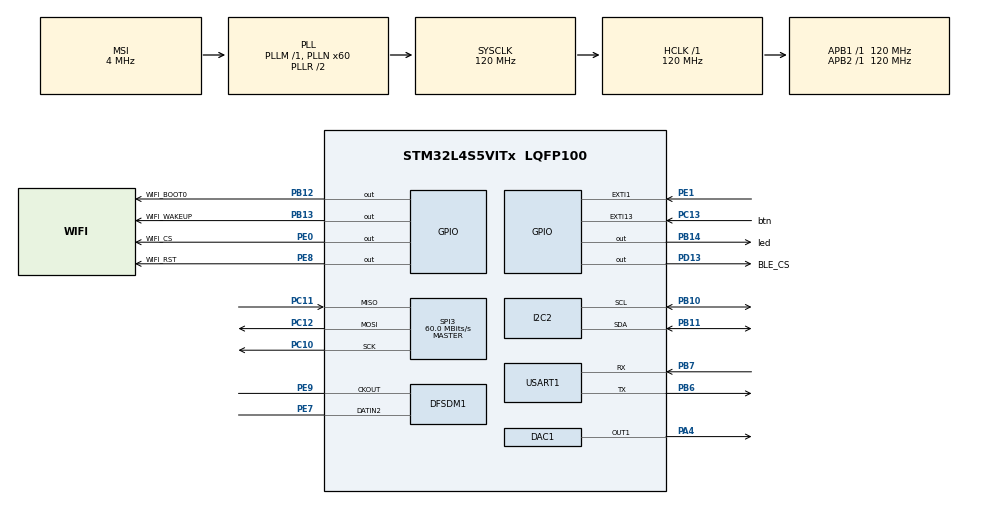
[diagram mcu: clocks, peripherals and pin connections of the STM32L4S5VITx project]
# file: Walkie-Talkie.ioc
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DAC1.DAC_Trigger-DAC_OUT1=DAC_TRIGGER_T2_TRGO
DFSDM1.Divider=60
DFSDM1.DmaMode_reg_FIL0=ENABLE
DFSDM1.FastMode_reg_FIL0=ENABLE
DFSDM1.Filter_regChannel_FIL0=DFSDM_CHANNEL_2
DFSDM1.Fosr_FIL0=250
Dma.DAC1_CH1.1.Direction=DMA_MEMORY_TO_PERIPH
Dma.DAC1_CH1.1.EventEnable=DISABLE
Dma.DAC1_CH1.1.Instance=DMA1_Channel2
Dma.DAC1_CH1.1.MemDataAlignment=DMA_MDATAALIGN_HALFWORD
Dma.DAC1_CH1.1.MemInc=DMA_MINC_ENABLE
Dma.DAC1_CH1.1.Mode=DMA_CIRCULAR
Dma.DAC1_CH1.1.PeriphDataAlignment=DMA_PDATAALIGN_HALFWORD
Dma.DAC1_CH1.1.PeriphInc=DMA_PINC_DISABLE
Dma.DAC1_CH1.1.Polarity=HAL_DMAMUX_REQUEST_GEN_RISING
Dma.DAC1_CH1.1.Priority=DMA_PRIORITY_LOW
Dma.DAC1_CH1.1.RequestNumber=1
Dma.DAC1_CH1.1.SignalID=NONE
Dma.DAC1_CH1.1.SyncEnable=DISABLE
Dma.DAC1_CH1.1.SyncPolarity=HAL_DMAMUX_SYNC_NO_EVENT
Dma.DAC1_CH1.1.SyncRequestNumber=1
Dma.DAC1_CH1.1.SyncSignalID=NONE
Dma.DFSDM1_FLT0.0.Direction=DMA_PERIPH_TO_MEMORY
Dma.DFSDM1_FLT0.0.EventEnable=DISABLE
Dma.DFSDM1_FLT0.0.Instance=DMA1_Channel1
Dma.DFSDM1_FLT0.0.MemDataAlignment=DMA_MDATAALIGN_WORD
Dma.DFSDM1_FLT0.0.MemInc=DMA_MINC_ENABLE
Dma.DFSDM1_FLT0.0.Mode=DMA_CIRCULAR
Dma.DFSDM1_FLT0.0.PeriphDataAlignment=DMA_PDATAALIGN_WORD
Dma.DFSDM1_FLT0.0.PeriphInc=DMA_PINC_DISABLE
Dma.DFSDM1_FLT0.0.Polarity=HAL_DMAMUX_REQUEST_GEN_RISING
Dma.DFSDM1_FLT0.0.Priority=DMA_PRIORITY_LOW
Dma.DFSDM1_FLT0.0.RequestNumber=1
Dma.DFSDM1_FLT0.0.SignalID=NONE
Dma.DFSDM1_FLT0.0.SyncEnable=DISABLE
Dma.DFSDM1_FLT0.0.SyncPolarity=HAL_DMAMUX_SYNC_NO_EVENT
Dma.DFSDM1_FLT0.0.SyncRequestNumber=1
Dma.DFSDM1_FLT0.0.SyncSignalID=NONE
Dma.Request0=DFSDM1_FLT0
Dma.Request1=DAC1_CH1
I2C2.Timing=0x30A175AB
Mcu.Family=STM32L4
Mcu.Name=STM32L4S5VITx
Mcu.Package=LQFP100
NVIC.DMA1_Channel1_IRQn=true\:0\:0\:false\:false\:true\:false\:true\:true
NVIC.DMA1_Channel2_IRQn=true\:0\:0\:false\:false\:true\:false\:true\:true
NVIC.EXTI15_10_IRQn=true\:0\:0\:false\:false\:true\:true\:true\:true
NVIC.EXTI1_IRQn=true\:0\:0\:false\:false\:true\:true\:true\:true
NVIC.PriorityGroup=NVIC_PRIORITYGROUP_4
PA4.Signal=COMP_DAC11_group
PB10.Mode=I2C
PB10.Signal=I2C2_SCL
PB11.Mode=I2C
PB11.Signal=I2C2_SDA
PB12.GPIO_Label=WIFI_BOOT0
PB12.Signal=GPIO_Output
PB13.GPIO_Label=WIFI_WAKEUP
PB13.Signal=GPIO_Output
PB14.GPIO_Label=led
PB14.Signal=GPIO_Output
PB6.Mode=Asynchronous
PB6.Signal=USART1_TX
PB7.Mode=Asynchronous
PB7.Signal=USART1_RX
PC10.Mode=Full_Duplex_Master
PC10.Signal=SPI3_SCK
PC11.Mode=Full_Duplex_Master
PC11.Signal=SPI3_MISO
PC12.Mode=Full_Duplex_Master
PC12.Signal=SPI3_MOSI
PC13.GPIO_Label=btn
PC13.GPIO_PuPd=GPIO_PULLUP
PC13.Signal=GPXTI13
PD13.GPIO_Label=BLE_CS
PD13.PinState=GPIO_PIN_SET
PD13.Signal=GPIO_Output
PE0.GPIO_Label=WIFI_CS
PE0.PinState=GPIO_PIN_SET
PE0.Signal=GPIO_Output
PE1.Signal=GPXTI1
PE7.Signal=S_DATAIN2DFSDM1
PE8.GPIO_Label=WIFI_RST
PE8.Signal=GPIO_Output
PE9.Signal=S_CKOUTDFSDM1
ProjectManager.HeapSize=0x200
ProjectManager.StackSize=0x400
ProjectManager.TargetToolchain=STM32CubeIDE
RCC.ADCFreq_Value=48000000
RCC.AHBFreq_Value=120000000
RCC.APB1Freq_Value=120000000
RCC.APB1TimFreq_Value=120000000
RCC.APB2Freq_Value=120000000
RCC.APB2TimFreq_Value=120000000
RCC.CortexFreq_Value=120000000
RCC.HCLKFreq_Value=120000000
RCC.HSE_VALUE=8000000
RCC.HSI48_VALUE=48000000
RCC.HSI_VALUE=16000000
RCC.LSE_VALUE=32768
RCC.MSI_VALUE=4000000
RCC.PLLN=60
RCC.PLLSAI1N=24
RCC.SYSCLKFreq_VALUE=120000000
RCC.SYSCLKSource=RCC_SYSCLKSOURCE_PLLCLK
RCC.USBFreq_Value=48000000
RCC.VCOOutputFreq_Value=240000000
SH.COMP_DAC11_group.0=DAC1_OUT1,DAC_OUT1
SH.S_CKOUTDFSDM1.0=DFSDM1_CKOUT,CKOUT
SH.S_CKOUTDFSDM1.1=DFSDM1_CKOUT,PDM_SPI_input_from_ch2_and_internal_clock
SH.S_DATAIN2DFSDM1.0=DFSDM1_DATIN2,PDM_SPI_input_from_ch2_and_internal_clock
SPI3.CalculateBaudRate=60.0 MBits/s
SPI3.Direction=SPI_DIRECTION_2LINES
SPI3.Mode=SPI_MODE_MASTER
SPI3.VirtualType=VM_MASTER
TIM2.Period=14999
TIM2.TIM_MasterOutputTrigger=TIM_TRGO_UPDATE
USART1.VirtualMode-Asynchronous=VM_ASYNC
VP_TIM2_VS_ClockSourceINT.Mode=Internal
board=B-L4S5I-IOT01A

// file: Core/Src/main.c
/* USER CODE BEGIN Header */
/**
  ******************************************************************************
  * @file           : main.c
  * @brief          : Main program body
  ******************************************************************************
  * @attention
  *
  * Copyright (c) 2026 STMicroelectronics.
  * All rights reserved.
  *
  * This software is licensed under terms that can be found in the LICENSE file
  * in the root directory of this software component.
  * If no LICENSE file comes with this software, it is provided AS-IS.
  *
  ******************************************************************************
  */
/* USER CODE END Header */
#include "main.h"

/* USER CODE BEGIN Includes */
#include <stdio.h>
#include <string.h>
#include "wifi.h"        /* SPI_WIFI_ISR() for the PE1 interrupt */
#include "wifi_link.h"   /* audio link between the boards: wifi_link_init, _send_frame, _poll, ... */
/* USER CODE END Includes */

/* USER CODE BEGIN PD */
// WIFI_TEST 1: Wi-Fi test. The blue button switches RX/TX, a dummy sound is sent in TX and stats print every second.
// WIFI_TEST 0: the real walkie-talkie. The blue button switches RX/TX, sound comes from the mic (mic_frame) and goes to the speaker (audio_play_frame).
#define WIFI_TEST 1
/* USER CODE END PD */

DAC_HandleTypeDef hdac1;
DMA_HandleTypeDef hdma_dac1_ch1;

DFSDM_Filter_HandleTypeDef hdfsdm1_filter0;
DFSDM_Channel_HandleTypeDef hdfsdm1_channel2;
DMA_HandleTypeDef hdma_dfsdm1_flt0;

I2C_HandleTypeDef hi2c2;

SPI_HandleTypeDef hspi3;

TIM_HandleTypeDef htim2;

UART_HandleTypeDef huart1;

/* USER CODE BEGIN PV */
// state machine to show whether the walkie-talkie is receiving or transmitting
static volatile enum {
	//receiving
	RECEIVING,
	//transmitting
	TRANSMITTING
} state ;

int32_t microphone_buffer[320] ;

// audio frames for the Wi-Fi link: 160 int16 samples = 20 ms at 8 kHz
int16_t mic_frame[WIFI_LINK_FRAME_SAMPLES]; // mic code fills this
volatile uint8_t mic_frame_ready = 0; //hand audio from mic code to wifi code
static int16_t rx_frame[WIFI_LINK_FRAME_SAMPLES]; // last frame received from other board

#define PLAYBACK_HALF_SAMPLES 160U
#define PLAYBACK_DMA_SAMPLES  (2U * PLAYBACK_HALF_SAMPLES)

_Alignas(4) static uint16_t playback_dma[PLAYBACK_DMA_SAMPLES];

#define PLAYBACK_QUEUE_FRAMES 4U
#define DAC_MIDPOINT 2048U
#define PLAYBACK_VOLUME_PERCENT 100

static int16_t playback_queue[PLAYBACK_QUEUE_FRAMES][PLAYBACK_HALF_SAMPLES];
static volatile uint32_t playback_write;
static volatile uint32_t playback_read;

/* USER CODE END PV */

void SystemClock_Config(void);
static void MX_GPIO_Init(void);
static void MX_DMA_Init(void);
static void MX_I2C2_Init(void);
static void MX_USART1_UART_Init(void);
static void MX_SPI3_Init(void);
static void MX_DFSDM1_Init(void);
static void MX_DAC1_Init(void);
static void MX_TIM2_Init(void);

/* USER CODE BEGIN 0 */
static void log_uart(const char *s)
{
  HAL_UART_Transmit(&huart1, (uint8_t *)s, strlen(s), 100);
}

void audio_play_frame(const int16_t *frame)
{
    uint32_t write = playback_write;
    uint32_t next = (write + 1U) % PLAYBACK_QUEUE_FRAMES;

    if (next == playback_read)
    {
        return;  /* Queue is full. Drop the new frame. */
    }

    for (uint32_t i = 0; i < PLAYBACK_HALF_SAMPLES; i++)
    {
        playback_queue[write][i] = frame[i];
    }

    __DMB();
    playback_write = next;
}

static void FillPlaybackHalf(uint16_t *destination)
{
    uint32_t read = playback_read;

    if (read == playback_write)
    {
        for (uint32_t i = 0; i < PLAYBACK_HALF_SAMPLES; i++)
        {
            destination[i] = DAC_MIDPOINT;
        }
        return;
    }

    __DMB();
    for (uint32_t i = 0; i < PLAYBACK_HALF_SAMPLES; i++)
    {
    	int32_t sample = playback_queue[read][i];
    	int32_t scaled = (sample * PLAYBACK_VOLUME_PERCENT) / 100;
    	destination[i] = (uint16_t)((scaled + 32768) / 16);
    }

    __DMB();
    playback_read = (read + 1U) % PLAYBACK_QUEUE_FRAMES;
}

void HAL_DAC_ConvHalfCpltCallbackCh1(DAC_HandleTypeDef *hdac)
{
    if (hdac->Instance == DAC1)
    {
        FillPlaybackHalf(&playback_dma[0]);
    }
}

void HAL_DAC_ConvCpltCallbackCh1(DAC_HandleTypeDef *hdac)
{
    if (hdac->Instance == DAC1)
    {
        FillPlaybackHalf(&playback_dma[PLAYBACK_HALF_SAMPLES]);
    }
}

/* USER CODE END 0 */

int main(void)
{

  /* MCU Configuration--------------------------------------------------------*/

  /* Reset of all peripherals, Initializes the Flash interface and the Systick. */
  HAL_Init();

  /* Configure the system clock */
  SystemClock_Config();

  /* Initialize all configured peripherals */
  MX_GPIO_Init();
  MX_DMA_Init();
  MX_I2C2_Init();
  MX_USART1_UART_Init();
  MX_SPI3_Init();
  MX_DFSDM1_Init();
  MX_DAC1_Init();
  MX_TIM2_Init();
  /* USER CODE BEGIN 2 */

  FillPlaybackHalf(&playback_dma[0]);
  FillPlaybackHalf(&playback_dma[PLAYBACK_HALF_SAMPLES]);

  if (HAL_DAC_Start_DMA(&hdac1, DAC_CHANNEL_1,
                        (uint32_t *)playback_dma, PLAYBACK_DMA_SAMPLES,
                        DAC_ALIGN_12B_R) != HAL_OK)
  {
      Error_Handler();
  }

  if (HAL_TIM_Base_Start(&htim2) != HAL_OK)
  {
      Error_Handler();
  }

  char msg[128];
  uint8_t ip[4];

  log_uart("Wi-Fi init...\r\n");
  WifiLinkStatus wl = wifi_link_init(); // starts in RX mode
  if (wl != WIFI_LINK_OK) {
    snprintf(msg, sizeof msg, "Wi-Fi FAILED (step %d), module replied: %.50s\r\n", (int)wl, wifi_link_last_error());
    log_uart(msg);
    Error_Handler();
  }
  wifi_link_get_ip(ip);
  snprintf(msg, sizeof msg, "Wi-Fi ready, IP %d.%d.%d.%d\r\n", ip[0], ip[1], ip[2], ip[3]);
  log_uart(msg);
  wifi_link_get_peer_ip(ip);
  snprintf(msg, sizeof msg, "Other board (PEER_IP): %d.%d.%d.%d\r\n", ip[0], ip[1], ip[2], ip[3]);
  log_uart(msg);

  WifiLinkMode want = WIFI_LINK_MODE_RX; // the mode we should be in
  uint32_t retry_at = HAL_GetTick(); // when to retry a mode switch that failed

#if WIFI_TEST
  uint32_t last_frame = HAL_GetTick();
  uint32_t last_report = HAL_GetTick();
  WifiLinkStats st, prev = {0};
  for (int i = 0; i < WIFI_LINK_FRAME_SAMPLES; i++) {
    mic_frame[i] = (int16_t)(i * 100); // dummy sound: a ramp
  }
  log_uart("WIFI_TEST: press the blue button to switch RX/TX (dummy sound in TX)\r\n");
#else
  log_uart("Ready: press the blue button to talk, press again to listen\r\n");
#endif
  /* USER CODE END 2 */

  /* Infinite loop */
  while (1)
  {

    /* USER CODE BEGIN 3 */
    // 1. mode selection: follow the blue button (the button interrupt changes state)
    want = (state == TRANSMITTING) ? WIFI_LINK_MODE_TX : WIFI_LINK_MODE_RX;
    if (wifi_link_get_mode() != want && (int32_t)(HAL_GetTick() - retry_at) >= 0) {
      uint32_t t0 = HAL_GetTick();
      wl = wifi_link_set_mode(want);
      if (wl == WIFI_LINK_OK) {
        snprintf(msg, sizeof msg, "---- %s (switch took %lu ms) ----\r\n", want == WIFI_LINK_MODE_TX ? "TX: talking" : "RX: listening", HAL_GetTick() - t0);
      } else {
        snprintf(msg, sizeof msg, "switch to %s failed (step %d): %.40s\r\n", want == WIFI_LINK_MODE_TX ? "TX" : "RX", (int)wl, wifi_link_last_error());
        retry_at = HAL_GetTick() + 1000; // the module refused: try again in 1 s
      }
      log_uart(msg);
    }

#if WIFI_TEST
    //pretend to be the mic, one dummy frame every 20 ms
    if (HAL_GetTick() - last_frame >= 20) {
      last_frame = (HAL_GetTick() - last_frame > 100) ? HAL_GetTick() : last_frame + 20; // steady 50/s, no burst after a stall
      mic_frame_ready = 1;
    }
#endif

    // 2. move the audio
    if (wifi_link_get_mode() == WIFI_LINK_MODE_TX) {
      if (mic_frame_ready) {
        mic_frame_ready = 0;
        wifi_link_send_frame(mic_frame);
      }
    } else if (wifi_link_poll(rx_frame, 5)) { // 1 = a frame arrived
      audio_play_frame(rx_frame);
    }

#if WIFI_TEST
    //stats once per second
    if (HAL_GetTick() - last_report >= 1000) {
      int tx = (wifi_link_get_mode() == WIFI_LINK_MODE_TX);
      wifi_link_get_stats(&st);
      snprintf(msg, sizeof msg, "%s %lu/s  sent %lu (err %lu)  rx %lu  lost %lu  bad %lu  flushed %lu\r\n",
               tx ? "TX" : "RX",
               tx ? st.sent - prev.sent : st.received - prev.received,
               st.sent, st.send_errors, st.received, st.lost, st.bad, st.flushed);
      log_uart(msg);
      prev = st;
      last_report += 1000;
    }
#endif
  }
  /* USER CODE END 3 */
}

void SystemClock_Config(void)

{
  RCC_OscInitTypeDef RCC_OscInitStruct = {0};
  RCC_ClkInitTypeDef RCC_ClkInitStruct = {0};

  /** Configure the main internal regulator output voltage
  */
  if (HAL_PWREx_ControlVoltageScaling(PWR_REGULATOR_VOLTAGE_SCALE1_BOOST) != HAL_OK)
  {
    Error_Handler();
  }

  /** Initializes the RCC Oscillators according to the specified parameters
  * in the RCC_OscInitTypeDef structure.
  */
  RCC_OscInitStruct.OscillatorType = RCC_OSCILLATORTYPE_MSI;
  RCC_OscInitStruct.MSIState = RCC_MSI_ON;
  RCC_OscInitStruct.MSICalibrationValue = 0;
  RCC_OscInitStruct.MSIClockRange = RCC_MSIRANGE_6;
  RCC_OscInitStruct.PLL.PLLState = RCC_PLL_ON;
  RCC_OscInitStruct.PLL.PLLSource = RCC_PLLSOURCE_MSI;
  RCC_OscInitStruct.PLL.PLLM = 1;
  RCC_OscInitStruct.PLL.PLLN = 60;
  RCC_OscInitStruct.PLL.PLLP = RCC_PLLP_DIV2;
  RCC_OscInitStruct.PLL.PLLQ = RCC_PLLQ_DIV2;
  RCC_OscInitStruct.PLL.PLLR = RCC_PLLR_DIV2;
  if (HAL_RCC_OscConfig(&RCC_OscInitStruct) != HAL_OK)
  {
    Error_Handler();
  }

  /** Initializes the CPU, AHB and APB buses clocks
  */
  RCC_ClkInitStruct.ClockType = RCC_CLOCKTYPE_HCLK|RCC_CLOCKTYPE_SYSCLK
                              |RCC_CLOCKTYPE_PCLK1|RCC_CLOCKTYPE_PCLK2;
  RCC_ClkInitStruct.SYSCLKSource = RCC_SYSCLKSOURCE_PLLCLK;
  RCC_ClkInitStruct.AHBCLKDivider = RCC_SYSCLK_DIV1;
  RCC_ClkInitStruct.APB1CLKDivider = RCC_HCLK_DIV1;
  RCC_ClkInitStruct.APB2CLKDivider = RCC_HCLK_DIV1;

  if (HAL_RCC_ClockConfig(&RCC_ClkInitStruct, FLASH_LATENCY_5) != HAL_OK)
  {
    Error_Handler();
  }
}

static void MX_DAC1_Init(void)
{

  DAC_ChannelConfTypeDef sConfig = {0};

  /** DAC Initialization
  */
  hdac1.Instance = DAC1;
  if (HAL_DAC_Init(&hdac1) != HAL_OK)
  {
    Error_Handler();
  }

  /** DAC channel OUT1 config
  */
  sConfig.DAC_SampleAndHold = DAC_SAMPLEANDHOLD_DISABLE;
  sConfig.DAC_Trigger = DAC_TRIGGER_T2_TRGO;
  sConfig.DAC_HighFrequency = DAC_HIGH_FREQUENCY_INTERFACE_MODE_ABOVE_80MHZ;
  sConfig.DAC_OutputBuffer = DAC_OUTPUTBUFFER_ENABLE;
  sConfig.DAC_ConnectOnChipPeripheral = DAC_CHIPCONNECT_DISABLE;
  sConfig.DAC_UserTrimming = DAC_TRIMMING_FACTORY;
  if (HAL_DAC_ConfigChannel(&hdac1, &sConfig, DAC_CHANNEL_1) != HAL_OK)
  {
    Error_Handler();
  }

}

static void MX_DFSDM1_Init(void)
{

  hdfsdm1_filter0.Instance = DFSDM1_Filter0;
  hdfsdm1_filter0.Init.RegularParam.Trigger = DFSDM_FILTER_SW_TRIGGER;
  hdfsdm1_filter0.Init.RegularParam.FastMode = ENABLE;
  hdfsdm1_filter0.Init.RegularParam.DmaMode = ENABLE;
  hdfsdm1_filter0.Init.FilterParam.SincOrder = DFSDM_FILTER_FASTSINC_ORDER;
  hdfsdm1_filter0.Init.FilterParam.Oversampling = 250;
  hdfsdm1_filter0.Init.FilterParam.IntOversampling = 1;
  if (HAL_DFSDM_FilterInit(&hdfsdm1_filter0) != HAL_OK)
  {
    Error_Handler();
  }
  hdfsdm1_channel2.Instance = DFSDM1_Channel2;
  hdfsdm1_channel2.Init.OutputClock.Activation = ENABLE;
  hdfsdm1_channel2.Init.OutputClock.Selection = DFSDM_CHANNEL_OUTPUT_CLOCK_SYSTEM;
  hdfsdm1_channel2.Init.OutputClock.Divider = 60;
  hdfsdm1_channel2.Init.Input.Multiplexer = DFSDM_CHANNEL_EXTERNAL_INPUTS;
  hdfsdm1_channel2.Init.Input.DataPacking = DFSDM_CHANNEL_STANDARD_MODE;
  hdfsdm1_channel2.Init.Input.Pins = DFSDM_CHANNEL_SAME_CHANNEL_PINS;
  hdfsdm1_channel2.Init.SerialInterface.Type = DFSDM_CHANNEL_SPI_RISING;
  hdfsdm1_channel2.Init.SerialInterface.SpiClock = DFSDM_CHANNEL_SPI_CLOCK_INTERNAL;
  hdfsdm1_channel2.Init.Awd.FilterOrder = DFSDM_CHANNEL_FASTSINC_ORDER;
  hdfsdm1_channel2.Init.Awd.Oversampling = 1;
  hdfsdm1_channel2.Init.Offset = 0;
  hdfsdm1_channel2.Init.RightBitShift = 0x00;
  if (HAL_DFSDM_ChannelInit(&hdfsdm1_channel2) != HAL_OK)
  {
    Error_Handler();
  }
  if (HAL_DFSDM_FilterConfigRegChannel(&hdfsdm1_filter0, DFSDM_CHANNEL_2, DFSDM_CONTINUOUS_CONV_ON) != HAL_OK)
  {
    Error_Handler();
  }

}

static void MX_I2C2_Init(void)
{

  hi2c2.Instance = I2C2;
  hi2c2.Init.Timing = 0x30A175AB;
  hi2c2.Init.OwnAddress1 = 0;
  hi2c2.Init.AddressingMode = I2C_ADDRESSINGMODE_7BIT;
  hi2c2.Init.DualAddressMode = I2C_DUALADDRESS_DISABLE;
  hi2c2.Init.OwnAddress2 = 0;
  hi2c2.Init.OwnAddress2Masks = I2C_OA2_NOMASK;
  hi2c2.Init.GeneralCallMode = I2C_GENERALCALL_DISABLE;
  hi2c2.Init.NoStretchMode = I2C_NOSTRETCH_DISABLE;
  if (HAL_I2C_Init(&hi2c2) != HAL_OK)
  {
    Error_Handler();
  }

  /** Configure Analogue filter
  */
  if (HAL_I2CEx_ConfigAnalogFilter(&hi2c2, I2C_ANALOGFILTER_ENABLE) != HAL_OK)
  {
    Error_Handler();
  }

  /** Configure Digital filter
  */
  if (HAL_I2CEx_ConfigDigitalFilter(&hi2c2, 0) != HAL_OK)
  {
    Error_Handler();
  }

}

static void MX_SPI3_Init(void)
{

  /* SPI3 parameter configuration*/
  hspi3.Instance = SPI3;
  hspi3.Init.Mode = SPI_MODE_MASTER;
  hspi3.Init.Direction = SPI_DIRECTION_2LINES;
  hspi3.Init.DataSize = SPI_DATASIZE_4BIT;
  hspi3.Init.CLKPolarity = SPI_POLARITY_LOW;
  hspi3.Init.CLKPhase = SPI_PHASE_1EDGE;
  hspi3.Init.NSS = SPI_NSS_SOFT;
  hspi3.Init.BaudRatePrescaler = SPI_BAUDRATEPRESCALER_2;
  hspi3.Init.FirstBit = SPI_FIRSTBIT_MSB;
  hspi3.Init.TIMode = SPI_TIMODE_DISABLE;
  hspi3.Init.CRCCalculation = SPI_CRCCALCULATION_DISABLE;
  hspi3.Init.CRCPolynomial = 7;
  hspi3.Init.CRCLength = SPI_CRC_LENGTH_DATASIZE;
  hspi3.Init.NSSPMode = SPI_NSS_PULSE_ENABLE;
  if (HAL_SPI_Init(&hspi3) != HAL_OK)
  {
    Error_Handler();
  }

}

static void MX_TIM2_Init(void)
{

  TIM_ClockConfigTypeDef sClockSourceConfig = {0};
  TIM_MasterConfigTypeDef sMasterConfig = {0};

  htim2.Instance = TIM2;
  htim2.Init.Prescaler = 0;
  htim2.Init.CounterMode = TIM_COUNTERMODE_UP;
  htim2.Init.Period = 14999;
  htim2.Init.ClockDivision = TIM_CLOCKDIVISION_DIV1;
  htim2.Init.AutoReloadPreload = TIM_AUTORELOAD_PRELOAD_DISABLE;
  if (HAL_TIM_Base_Init(&htim2) != HAL_OK)
  {
    Error_Handler();
  }
  sClockSourceConfig.ClockSource = TIM_CLOCKSOURCE_INTERNAL;
  if (HAL_TIM_ConfigClockSource(&htim2, &sClockSourceConfig) != HAL_OK)
  {
    Error_Handler();
  }
  sMasterConfig.MasterOutputTrigger = TIM_TRGO_UPDATE;
  sMasterConfig.MasterSlaveMode = TIM_MASTERSLAVEMODE_DISABLE;
  if (HAL_TIMEx_MasterConfigSynchronization(&htim2, &sMasterConfig) != HAL_OK)
  {
    Error_Handler();
  }

}

static void MX_USART1_UART_Init(void)
{

  huart1.Instance = USART1;
  huart1.Init.BaudRate = 115200;
  huart1.Init.WordLength = UART_WORDLENGTH_8B;
  huart1.Init.StopBits = UART_STOPBITS_1;
  huart1.Init.Parity = UART_PARITY_NONE;
  huart1.Init.Mode = UART_MODE_TX_RX;
  huart1.Init.HwFlowCtl = UART_HWCONTROL_NONE;
  huart1.Init.OverSampling = UART_OVERSAMPLING_16;
  huart1.Init.OneBitSampling = UART_ONE_BIT_SAMPLE_DISABLE;
  huart1.Init.ClockPrescaler = UART_PRESCALER_DIV1;
  huart1.AdvancedInit.AdvFeatureInit = UART_ADVFEATURE_NO_INIT;
  if (HAL_UART_Init(&huart1) != HAL_OK)
  {
    Error_Handler();
  }
  if (HAL_UARTEx_SetTxFifoThreshold(&huart1, UART_TXFIFO_THRESHOLD_1_8) != HAL_OK)
  {
    Error_Handler();
  }
  if (HAL_UARTEx_SetRxFifoThreshold(&huart1, UART_RXFIFO_THRESHOLD_1_8) != HAL_OK)
  {
    Error_Handler();
  }
  if (HAL_UARTEx_DisableFifoMode(&huart1) != HAL_OK)
  {
    Error_Handler();
  }

}

static void MX_DMA_Init(void)
{

  /* DMA controller clock enable */
  __HAL_RCC_DMAMUX1_CLK_ENABLE();
  __HAL_RCC_DMA1_CLK_ENABLE();

  /* DMA interrupt init */
  /* DMA1_Channel1_IRQn interrupt configuration */
  HAL_NVIC_SetPriority(DMA1_Channel1_IRQn, 0, 0);
  HAL_NVIC_EnableIRQ(DMA1_Channel1_IRQn);
  /* DMA1_Channel2_IRQn interrupt configuration */
  HAL_NVIC_SetPriority(DMA1_Channel2_IRQn, 0, 0);
  HAL_NVIC_EnableIRQ(DMA1_Channel2_IRQn);

}

static void MX_GPIO_Init(void)
{
  GPIO_InitTypeDef GPIO_InitStruct = {0};

  /* GPIO Ports Clock Enable */
  __HAL_RCC_GPIOC_CLK_ENABLE();
  __HAL_RCC_GPIOA_CLK_ENABLE();
  __HAL_RCC_GPIOE_CLK_ENABLE();
  __HAL_RCC_GPIOB_CLK_ENABLE();
  __HAL_RCC_GPIOD_CLK_ENABLE();

  /*Configure GPIO pin Output Level */
  HAL_GPIO_WritePin(WIFI_RST_GPIO_Port, WIFI_RST_Pin, GPIO_PIN_RESET);

  /*Configure GPIO pin Output Level */
  HAL_GPIO_WritePin(GPIOB, WIFI_BOOT0_Pin|WIFI_WAKEUP_Pin|led_Pin, GPIO_PIN_RESET);

  /*Configure GPIO pin Output Level */
  HAL_GPIO_WritePin(BLE_CS_GPIO_Port, BLE_CS_Pin, GPIO_PIN_SET);

  /*Configure GPIO pin Output Level */
  HAL_GPIO_WritePin(WIFI_CS_GPIO_Port, WIFI_CS_Pin, GPIO_PIN_SET);

  /*Configure GPIO pin : btn_Pin */
  GPIO_InitStruct.Pin = btn_Pin;
  GPIO_InitStruct.Mode = GPIO_MODE_IT_RISING;
  GPIO_InitStruct.Pull = GPIO_PULLUP;
  HAL_GPIO_Init(btn_GPIO_Port, &GPIO_InitStruct);

  /*Configure GPIO pins : WIFI_RST_Pin WIFI_CS_Pin */
  GPIO_InitStruct.Pin = WIFI_RST_Pin|WIFI_CS_Pin;
  GPIO_InitStruct.Mode = GPIO_MODE_OUTPUT_PP;
  GPIO_InitStruct.Pull = GPIO_NOPULL;
  GPIO_InitStruct.Speed = GPIO_SPEED_FREQ_LOW;
  HAL_GPIO_Init(GPIOE, &GPIO_InitStruct);

  /*Configure GPIO pins : WIFI_BOOT0_Pin WIFI_WAKEUP_Pin led_Pin */
  GPIO_InitStruct.Pin = WIFI_BOOT0_Pin|WIFI_WAKEUP_Pin|led_Pin;
  GPIO_InitStruct.Mode = GPIO_MODE_OUTPUT_PP;
  GPIO_InitStruct.Pull = GPIO_NOPULL;
  GPIO_InitStruct.Speed = GPIO_SPEED_FREQ_LOW;
  HAL_GPIO_Init(GPIOB, &GPIO_InitStruct);

  /*Configure GPIO pin : BLE_CS_Pin */
  GPIO_InitStruct.Pin = BLE_CS_Pin;
  GPIO_InitStruct.Mode = GPIO_MODE_OUTPUT_PP;
  GPIO_InitStruct.Pull = GPIO_NOPULL;
  GPIO_InitStruct.Speed = GPIO_SPEED_FREQ_LOW;
  HAL_GPIO_Init(BLE_CS_GPIO_Port, &GPIO_InitStruct);

  /*Configure GPIO pin : PE1 */
  GPIO_InitStruct.Pin = GPIO_PIN_1;
  GPIO_InitStruct.Mode = GPIO_MODE_IT_RISING;
  GPIO_InitStruct.Pull = GPIO_NOPULL;
  HAL_GPIO_Init(GPIOE, &GPIO_InitStruct);

  /* EXTI interrupt init*/
  HAL_NVIC_SetPriority(EXTI1_IRQn, 0, 0);
  HAL_NVIC_EnableIRQ(EXTI1_IRQn);

  HAL_NVIC_SetPriority(EXTI15_10_IRQn, 0, 0);
  HAL_NVIC_EnableIRQ(EXTI15_10_IRQn);

}

/* USER CODE BEGIN 4 */
/* Wi-Fi module: SPI3 interrupt. */
extern SPI_HandleTypeDef hspi;
void SPI3_IRQHandler(void)
{
  HAL_SPI_IRQHandler(&hspi);
}

void HAL_GPIO_EXTI_Callback(uint16_t GPIO_Pin)
{
  if (GPIO_Pin == GPIO_PIN_1) /* PE1: Wi-Fi module data ready */
  {
    SPI_WIFI_ISR();
  }
  else if (GPIO_Pin == GPIO_PIN_13) /* PC13: blue push-button */
  {
		HAL_GPIO_TogglePin(led_GPIO_Port, led_Pin);
		switch(state){
		case RECEIVING:
			if (HAL_DFSDM_FilterRegularStart_DMA(&hdfsdm1_filter0,microphone_buffer,320)!= HAL_OK){
				Error_Handler();
			}
			state = TRANSMITTING;
			break;
		case TRANSMITTING:
			if (HAL_DFSDM_FilterRegularStop_DMA(&hdfsdm1_filter0)!= HAL_OK){
				Error_Handler();
			}
			state = RECEIVING;
			break;
		}
  }
}

void HAL_DFSDM_FilterRegConvHalfCpltCallback(DFSDM_Filter_HandleTypeDef *hdfsdm_filter) {
  if (hdfsdm_filter == &hdfsdm1_filter0) {
	  for (int i=0;i<160;i++){
		  mic_frame[i] = (int16_t) (microphone_buffer[i]>> 8);
	  }
	  mic_frame_ready = 1;
  }
}

void HAL_DFSDM_FilterRegConvCpltCallback(DFSDM_Filter_HandleTypeDef *hdfsdm_filter)
{
	  if (hdfsdm_filter == &hdfsdm1_filter0) {
		  for (int i=0;i<160;i++){
			  mic_frame[i] = (int16_t) (microphone_buffer[i+160]>> 8);
		  }
		  mic_frame_ready = 1;
	  }
}

/* USER CODE END 4 */

void Error_Handler(void)
{
  __disable_irq();
  while (1)
  {
  }
}
